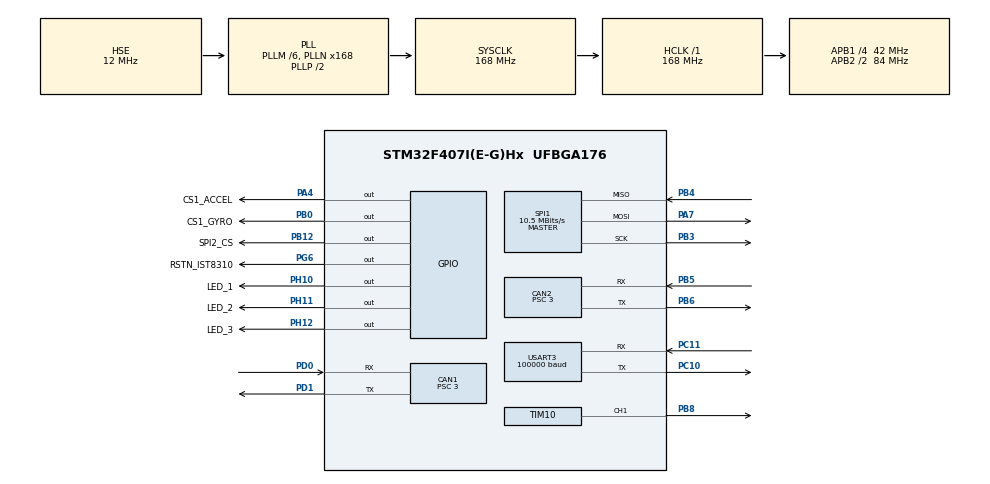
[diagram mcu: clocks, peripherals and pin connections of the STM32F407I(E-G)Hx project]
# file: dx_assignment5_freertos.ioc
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CAN1.ABOM=ENABLE
CAN1.AWUM=ENABLE
CAN1.BS1=CAN_BS1_7TQ
CAN1.BS2=CAN_BS2_6TQ
CAN1.CalculateBaudRate=1000000
CAN1.CalculateTimeBit=1000
CAN1.CalculateTimeQuantum=71.42857142857143
CAN1.Mode=CAN_MODE_NORMAL
CAN1.NART=ENABLE
CAN1.Prescaler=3
CAN1.TXFP=ENABLE
CAN2.BS1=CAN_BS1_7TQ
CAN2.BS2=CAN_BS2_6TQ
CAN2.CalculateBaudRate=1000000
CAN2.CalculateTimeBit=1000
CAN2.CalculateTimeQuantum=71.42857142857143
CAN2.Prescaler=3
Dma.Request0=SPI1_RX
Dma.Request1=SPI1_TX
Dma.Request2=USART3_RX
Dma.SPI1_RX.0.Direction=DMA_PERIPH_TO_MEMORY
Dma.SPI1_RX.0.FIFOMode=DMA_FIFOMODE_DISABLE
Dma.SPI1_RX.0.Instance=DMA2_Stream2
Dma.SPI1_RX.0.MemDataAlignment=DMA_MDATAALIGN_BYTE
Dma.SPI1_RX.0.MemInc=DMA_MINC_ENABLE
Dma.SPI1_RX.0.Mode=DMA_NORMAL
Dma.SPI1_RX.0.PeriphDataAlignment=DMA_PDATAALIGN_BYTE
Dma.SPI1_RX.0.PeriphInc=DMA_PINC_DISABLE
Dma.SPI1_RX.0.Priority=DMA_PRIORITY_HIGH
Dma.SPI1_TX.1.Direction=DMA_MEMORY_TO_PERIPH
Dma.SPI1_TX.1.FIFOMode=DMA_FIFOMODE_DISABLE
Dma.SPI1_TX.1.Instance=DMA2_Stream3
Dma.SPI1_TX.1.MemDataAlignment=DMA_MDATAALIGN_BYTE
Dma.SPI1_TX.1.MemInc=DMA_MINC_ENABLE
Dma.SPI1_TX.1.Mode=DMA_NORMAL
Dma.SPI1_TX.1.PeriphDataAlignment=DMA_PDATAALIGN_BYTE
Dma.SPI1_TX.1.PeriphInc=DMA_PINC_DISABLE
Dma.SPI1_TX.1.Priority=DMA_PRIORITY_HIGH
Dma.USART3_RX.2.Direction=DMA_PERIPH_TO_MEMORY
Dma.USART3_RX.2.FIFOMode=DMA_FIFOMODE_DISABLE
Dma.USART3_RX.2.Instance=DMA1_Stream1
Dma.USART3_RX.2.MemDataAlignment=DMA_MDATAALIGN_BYTE
Dma.USART3_RX.2.MemInc=DMA_MINC_ENABLE
Dma.USART3_RX.2.Mode=DMA_NORMAL
Dma.USART3_RX.2.PeriphDataAlignment=DMA_PDATAALIGN_BYTE
Dma.USART3_RX.2.PeriphInc=DMA_PINC_DISABLE
Dma.USART3_RX.2.Priority=DMA_PRIORITY_HIGH
FREERTOS.CountingSemaphores01=CAN1CountingSem,3,Dynamic,NULL;CAN2CountingSem,3,Dynamic,NULL
FREERTOS.Queues01=can1_send_fifo,16,can_device_transmit_member,0,Dynamic,NULL,NULL;can2_send_fifo,16,can_device_transmit_member,0,Dynamic,NULL,NULL
FREERTOS.Tasks01=CAN1_Sending_Service,40,256,can1_sending_service,As weak,NULL,Dynamic,NULL,NULL;CAN2_Sending_Service,40,256,can2_sending_service,As weak,NULL,Dynamic,NULL,NULL;DJI_Motor_Service,40,256,DJI_motor_service,As weak,NULL,Dynamic,NULL,NULL;LED_Task,8,128,StartTask04,As weak,NULL,Dynamic,NULL,NULL;MotorTask,40,1024,MotorTask05,As weak,NULL,Dynamic,NULL,NULL;RcTask,24,256,RcTask06,As weak,NULL,Dynamic,NULL,NULL;InsTask,8,256,InsTask07,As weak,NULL,Dynamic,NULL,NULL;CanTask,8,128,CanTask08,As weak,NULL,Dynamic,NULL,NULL
FREERTOS.configMAX_TASK_NAME_LEN=32
FREERTOS.configMINIMAL_STACK_SIZE=128
FREERTOS.configTOTAL_HEAP_SIZE=50000
FREERTOS.configUSE_NEWLIB_REENTRANT=1
Mcu.Family=STM32F4
Mcu.Name=STM32F407I(E-G)Hx
Mcu.Package=UFBGA176
NVIC.CAN1_RX0_IRQn=true\:5\:0\:false\:false\:true\:true\:true\:true\:true
NVIC.CAN1_TX_IRQn=true\:5\:0\:false\:false\:true\:true\:true\:true\:true
NVIC.CAN2_RX1_IRQn=true\:5\:0\:false\:false\:true\:true\:true\:true\:true
NVIC.CAN2_TX_IRQn=true\:5\:0\:false\:false\:true\:true\:true\:true\:true
NVIC.DMA1_Stream1_IRQn=true\:5\:0\:false\:false\:true\:true\:false\:true\:true
NVIC.DMA2_Stream2_IRQn=true\:5\:0\:true\:false\:true\:false\:false\:true\:true
NVIC.DMA2_Stream3_IRQn=true\:5\:0\:false\:false\:true\:true\:false\:true\:true
NVIC.PriorityGroup=NVIC_PRIORITYGROUP_4
NVIC.TIM7_IRQn=true\:15\:0\:false\:false\:true\:false\:false\:true\:true
NVIC.TimeBase=TIM7_IRQn
NVIC.TimeBaseIP=TIM7
NVIC.USART3_IRQn=true\:5\:0\:false\:false\:true\:true\:true\:true\:true
PA13.Mode=Serial_Wire
PA13.Signal=SYS_JTMS-SWDIO
PA14.Mode=Serial_Wire
PA14.Signal=SYS_JTCK-SWCLK
PA4.GPIO_Label=CS1_ACCEL
PA4.GPIO_PuPd=GPIO_PULLUP
PA4.GPIO_Speed=GPIO_SPEED_FREQ_HIGH
PA4.PinState=GPIO_PIN_SET
PA4.Signal=GPIO_Output
PA7.Mode=Full_Duplex_Master
PA7.Signal=SPI1_MOSI
PB0.GPIO_Label=CS1_GYRO
PB0.GPIO_PuPd=GPIO_PULLUP
PB0.GPIO_Speed=GPIO_SPEED_FREQ_HIGH
PB0.PinState=GPIO_PIN_SET
PB0.Signal=GPIO_Output
PB12.GPIO_Label=SPI2_CS
PB12.GPIO_PuPd=GPIO_PULLUP
PB12.GPIO_Speed=GPIO_SPEED_FREQ_MEDIUM
PB12.PinState=GPIO_PIN_SET
PB12.Signal=GPIO_Output
PB3.Mode=Full_Duplex_Master
PB3.Signal=SPI1_SCK
PB4.Mode=Full_Duplex_Master
PB4.Signal=SPI1_MISO
PB5.Mode=CAN_Activate
PB5.Signal=CAN2_RX
PB6.Mode=CAN_Activate
PB6.Signal=CAN2_TX
PB8.Signal=S_TIM10_CH1
PC10.Mode=Asynchronous
PC10.Signal=USART3_TX
PC11.Mode=Asynchronous
PC11.Signal=USART3_RX
PD0.Mode=CAN_Activate
PD0.Signal=CAN1_RX
PD1.Mode=CAN_Activate
PD1.Signal=CAN1_TX
PG6.GPIO_Label=RSTN_IST8310
PG6.GPIO_PuPd=GPIO_PULLUP
PG6.GPIO_Speed=GPIO_SPEED_FREQ_MEDIUM
PG6.PinState=GPIO_PIN_SET
PG6.Signal=GPIO_Output
PH0-OSC_IN.Mode=HSE-External-Oscillator
PH0-OSC_IN.Signal=RCC_OSC_IN
PH1-OSC_OUT.Mode=HSE-External-Oscillator
PH1-OSC_OUT.Signal=RCC_OSC_OUT
PH10.GPIO_Label=LED_1
PH10.PinState=GPIO_PIN_SET
PH10.Signal=GPIO_Output
PH11.GPIO_Label=LED_2
PH11.PinState=GPIO_PIN_SET
PH11.Signal=GPIO_Output
PH12.GPIO_Label=LED_3
PH12.PinState=GPIO_PIN_SET
PH12.Signal=GPIO_Output
ProjectManager.HeapSize=0x200
ProjectManager.StackSize=0x400
ProjectManager.TargetToolchain=CMake
RCC.48MHZClocksFreq_Value=84000000
RCC.AHBFreq_Value=168000000
RCC.APB1CLKDivider=RCC_HCLK_DIV4
RCC.APB1Freq_Value=42000000
RCC.APB1TimFreq_Value=84000000
RCC.APB2CLKDivider=RCC_HCLK_DIV2
RCC.APB2Freq_Value=84000000
RCC.APB2TimFreq_Value=168000000
RCC.CortexFreq_Value=168000000
RCC.HCLKFreq_Value=168000000
RCC.HSE_VALUE=12000000
RCC.HSI_VALUE=16000000
RCC.LSE_VALUE=32768
RCC.PLLM=6
RCC.PLLN=168
RCC.PLLSourceVirtual=RCC_PLLSOURCE_HSE
RCC.SYSCLKFreq_VALUE=168000000
RCC.SYSCLKSource=RCC_SYSCLKSOURCE_PLLCLK
RCC.VCOOutputFreq_Value=336000000
SH.S_TIM10_CH1.0=TIM10_CH1,PWM Generation1 CH1
SPI1.BaudRatePrescaler=SPI_BAUDRATEPRESCALER_8
SPI1.CLKPhase=SPI_PHASE_2EDGE
SPI1.CLKPolarity=SPI_POLARITY_HIGH
SPI1.CalculateBaudRate=10.5 MBits/s
SPI1.Direction=SPI_DIRECTION_2LINES
SPI1.Mode=SPI_MODE_MASTER
SPI1.VirtualType=VM_MASTER
TIM10.Channel=TIM_CHANNEL_1
TIM10.Period=2000-1
TIM10.Prescaler=84-1
USART3.BaudRate=100000
USART3.Parity=PARITY_EVEN
USART3.VirtualMode=VM_ASYNC
USART3.WordLength=WORDLENGTH_9B
VP_FREERTOS_VS_CMSIS_V2.Mode=CMSIS_V2
VP_SYS_VS_tim7.Mode=TIM7
VP_TIM10_VS_ClockSourceINT.Mode=Enable_Timer
board=custom

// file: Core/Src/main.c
/* USER CODE BEGIN Header */
/**
  ******************************************************************************
  * @file           : main.c
  * @brief          : Main program body
  ******************************************************************************
  * @attention
  *
  * Copyright (c) 2026 STMicroelectronics.
  * All rights reserved.
  *
  * This software is licensed under terms that can be found in the LICENSE file
  * in the root directory of this software component.
  * If no LICENSE file comes with this software, it is provided AS-IS.
  *
  ******************************************************************************
  */
/* USER CODE END Header */
#include "main.h"
#include "cmsis_os.h"
#include "can.h"
#include "dma.h"
#include "spi.h"
#include "tim.h"
#include "usart.h"
#include "gpio.h"
#include"BMI088driver.h"
#include "bsp_dwt.h"
#include "ins_task.h"

void SystemClock_Config(void);
void MX_FREERTOS_Init(void);

/* USER CODE BEGIN 0 */
void bsp_can_init() {
    HAL_CAN_Start(&hcan1);
    HAL_CAN_ActivateNotification(&hcan1,  CAN_IT_RX_FIFO0_MSG_PENDING | CAN_IT_TX_MAILBOX_EMPTY);
    HAL_CAN_Start(&hcan2);
    HAL_CAN_ActivateNotification(&hcan2,  CAN_IT_RX_FIFO1_MSG_PENDING | CAN_IT_TX_MAILBOX_EMPTY);
}
/* USER CODE END 0 */

int main(void)
{

  /* USER CODE BEGIN 1 */
  __HAL_RCC_SYSCLK_CONFIG(RCC_SYSCLKSOURCE_HSI);
  /* USER CODE END 1 */

  /* MCU Configuration--------------------------------------------------------*/

  /* Reset of all peripherals, Initializes the Flash interface and the Systick. */
  HAL_Init();

  /* Configure the system clock */
  SystemClock_Config();

  /* Initialize all configured peripherals */
  MX_GPIO_Init();
  MX_DMA_Init();
  MX_CAN1_Init();
  MX_CAN2_Init();
  MX_SPI1_Init();
  MX_TIM10_Init();
  MX_USART3_UART_Init();
  /* USER CODE BEGIN 2 */
    bsp_can_init();
  DWT_Init(168);
  BMI088_Init(&hspi1,0);
  INS_Init();
  /* USER CODE END 2 */

  /* Init scheduler */
  osKernelInitialize();  /* Call init function for freertos objects (in cmsis_os2.c) */
  MX_FREERTOS_Init();

  /* Start scheduler */
  osKernelStart();

  /* We should never get here as control is now taken by the scheduler */

  /* Infinite loop */
  while (1)
  {

  }
}

void SystemClock_Config(void)
{
  RCC_OscInitTypeDef RCC_OscInitStruct = {0};
  RCC_ClkInitTypeDef RCC_ClkInitStruct = {0};

  /** Configure the main internal regulator output voltage
  */
  __HAL_RCC_PWR_CLK_ENABLE();
  __HAL_PWR_VOLTAGESCALING_CONFIG(PWR_REGULATOR_VOLTAGE_SCALE1);

  /** Initializes the RCC Oscillators according to the specified parameters
  * in the RCC_OscInitTypeDef structure.
  */
  RCC_OscInitStruct.OscillatorType = RCC_OSCILLATORTYPE_HSE;
  RCC_OscInitStruct.HSEState = RCC_HSE_ON;
  RCC_OscInitStruct.PLL.PLLState = RCC_PLL_ON;
  RCC_OscInitStruct.PLL.PLLSource = RCC_PLLSOURCE_HSE;
  RCC_OscInitStruct.PLL.PLLM = 6;
  RCC_OscInitStruct.PLL.PLLN = 168;
  RCC_OscInitStruct.PLL.PLLP = RCC_PLLP_DIV2;
  RCC_OscInitStruct.PLL.PLLQ = 4;
  if (HAL_RCC_OscConfig(&RCC_OscInitStruct) != HAL_OK)
  {
    Error_Handler();
  }

  /** Initializes the CPU, AHB and APB buses clocks
  */
  RCC_ClkInitStruct.ClockType = RCC_CLOCKTYPE_HCLK|RCC_CLOCKTYPE_SYSCLK
                              |RCC_CLOCKTYPE_PCLK1|RCC_CLOCKTYPE_PCLK2;
  RCC_ClkInitStruct.SYSCLKSource = RCC_SYSCLKSOURCE_PLLCLK;
  RCC_ClkInitStruct.AHBCLKDivider = RCC_SYSCLK_DIV1;
  RCC_ClkInitStruct.APB1CLKDivider = RCC_HCLK_DIV4;
  RCC_ClkInitStruct.APB2CLKDivider = RCC_HCLK_DIV2;

  if (HAL_RCC_ClockConfig(&RCC_ClkInitStruct, FLASH_LATENCY_5) != HAL_OK)
  {
    Error_Handler();
  }
}

void HAL_TIM_PeriodElapsedCallback(TIM_HandleTypeDef *htim)
{
  if (htim->Instance == TIM7)
  {
    HAL_IncTick();
  }
}

void Error_Handler(void)
{
  __disable_irq();
  while (1)
  {
  }
}

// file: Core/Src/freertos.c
/* USER CODE BEGIN Header */
/**
  ******************************************************************************
  * File Name          : freertos.c
  * Description        : Code for freertos applications
  ******************************************************************************
  * @attention
  *
  * Copyright (c) 2026 STMicroelectronics.
  * All rights reserved.
  *
  * This software is licensed under terms that can be found in the LICENSE file
  * in the root directory of this software component.
  * If no LICENSE file comes with this software, it is provided AS-IS.
  *
  ******************************************************************************
  */
/* USER CODE END Header */

#include "FreeRTOS.h"
#include "task.h"
#include "main.h"
#include "cmsis_os.h"

/* USER CODE BEGIN PTD */
typedef struct {
    CAN_HandleTypeDef *hcan;
    uint32_t id;
    uint8_t len;
    uint8_t *buf_data;
}can_device_transmit_member;
/* USER CODE END PTD */

/* Definitions for CAN1_Sending_Service */
osThreadId_t CAN1_Sending_ServiceHandle;
const osThreadAttr_t CAN1_Sending_Service_attributes = {
  .name = "CAN1_Sending_Service",
  .stack_size = 256 * 4,
  .priority = (osPriority_t) osPriorityHigh,
};
/* Definitions for CAN2_Sending_Service */
osThreadId_t CAN2_Sending_ServiceHandle;
const osThreadAttr_t CAN2_Sending_Service_attributes = {
  .name = "CAN2_Sending_Service",
  .stack_size = 256 * 4,
  .priority = (osPriority_t) osPriorityHigh,
};
/* Definitions for DJI_Motor_Service */
osThreadId_t DJI_Motor_ServiceHandle;
const osThreadAttr_t DJI_Motor_Service_attributes = {
  .name = "DJI_Motor_Service",
  .stack_size = 256 * 4,
  .priority = (osPriority_t) osPriorityHigh,
};
/* Definitions for LED_Task */
osThreadId_t LED_TaskHandle;
const osThreadAttr_t LED_Task_attributes = {
  .name = "LED_Task",
  .stack_size = 128 * 4,
  .priority = (osPriority_t) osPriorityLow,
};
/* Definitions for MotorTask */
osThreadId_t MotorTaskHandle;
const osThreadAttr_t MotorTask_attributes = {
  .name = "MotorTask",
  .stack_size = 1024 * 4,
  .priority = (osPriority_t) osPriorityHigh,
};
/* Definitions for RcTask */
osThreadId_t RcTaskHandle;
const osThreadAttr_t RcTask_attributes = {
  .name = "RcTask",
  .stack_size = 256 * 4,
  .priority = (osPriority_t) osPriorityNormal,
};
/* Definitions for InsTask */
osThreadId_t InsTaskHandle;
const osThreadAttr_t InsTask_attributes = {
  .name = "InsTask",
  .stack_size = 256 * 4,
  .priority = (osPriority_t) osPriorityLow,
};
/* Definitions for CanTask */
osThreadId_t CanTaskHandle;
const osThreadAttr_t CanTask_attributes = {
  .name = "CanTask",
  .stack_size = 128 * 4,
  .priority = (osPriority_t) osPriorityLow,
};
/* Definitions for can1_send_fifo */
osMessageQueueId_t can1_send_fifoHandle;
const osMessageQueueAttr_t can1_send_fifo_attributes = {
  .name = "can1_send_fifo"
};
/* Definitions for can2_send_fifo */
osMessageQueueId_t can2_send_fifoHandle;
const osMessageQueueAttr_t can2_send_fifo_attributes = {
  .name = "can2_send_fifo"
};
/* Definitions for CAN1CountingSem */
osSemaphoreId_t CAN1CountingSemHandle;
const osSemaphoreAttr_t CAN1CountingSem_attributes = {
  .name = "CAN1CountingSem"
};
/* Definitions for CAN2CountingSem */
osSemaphoreId_t CAN2CountingSemHandle;
const osSemaphoreAttr_t CAN2CountingSem_attributes = {
  .name = "CAN2CountingSem"
};

void can1_sending_service(void *argument);
void can2_sending_service(void *argument);
void DJI_motor_service(void *argument);
void StartTask04(void *argument);
void MotorTask05(void *argument);
void RcTask06(void *argument);
void InsTask07(void *argument);
void CanTask08(void *argument);

void MX_FREERTOS_Init(void); /* (MISRA C 2004 rule 8.1) */

void MX_FREERTOS_Init(void) {

  /* Create the semaphores(s) */
  /* creation of CAN1CountingSem */
  CAN1CountingSemHandle = osSemaphoreNew(3, 3, &CAN1CountingSem_attributes);

  /* creation of CAN2CountingSem */
  CAN2CountingSemHandle = osSemaphoreNew(3, 3, &CAN2CountingSem_attributes);

  /* Create the queue(s) */
  /* creation of can1_send_fifo */
  can1_send_fifoHandle = osMessageQueueNew (16, sizeof(can_device_transmit_member), &can1_send_fifo_attributes);

  /* creation of can2_send_fifo */
  can2_send_fifoHandle = osMessageQueueNew (16, sizeof(can_device_transmit_member), &can2_send_fifo_attributes);

  /* Create the thread(s) */
  /* creation of CAN1_Sending_Service */
  CAN1_Sending_ServiceHandle = osThreadNew(can1_sending_service, NULL, &CAN1_Sending_Service_attributes);

  /* creation of CAN2_Sending_Service */
  CAN2_Sending_ServiceHandle = osThreadNew(can2_sending_service, NULL, &CAN2_Sending_Service_attributes);

  /* creation of DJI_Motor_Service */
  DJI_Motor_ServiceHandle = osThreadNew(DJI_motor_service, NULL, &DJI_Motor_Service_attributes);

  /* creation of LED_Task */
  LED_TaskHandle = osThreadNew(StartTask04, NULL, &LED_Task_attributes);

  /* creation of MotorTask */
  MotorTaskHandle = osThreadNew(MotorTask05, NULL, &MotorTask_attributes);

  /* creation of RcTask */
  RcTaskHandle = osThreadNew(RcTask06, NULL, &RcTask_attributes);

  /* creation of InsTask */
  InsTaskHandle = osThreadNew(InsTask07, NULL, &InsTask_attributes);

  /* creation of CanTask */
  CanTaskHandle = osThreadNew(CanTask08, NULL, &CanTask_attributes);

}

__weak void can1_sending_service(void *argument)
{
  for(;;)
  {
    osDelay(1);
  }
}

__weak void can2_sending_service(void *argument)
{
  for(;;)
  {
    osDelay(1);
  }
}

__weak void DJI_motor_service(void *argument)
{
  for(;;)
  {
    osDelay(1);
  }
}

__weak void StartTask04(void *argument)
{
  /* USER CODE BEGIN StartTask04 */
  /* Infinite loop */
  for(;;)
  {
    HAL_GPIO_WritePin(GPIOH,GPIO_PIN_10,GPIO_PIN_SET);
    HAL_GPIO_WritePin(GPIOH,GPIO_PIN_11,GPIO_PIN_RESET);
    HAL_GPIO_WritePin(GPIOH,GPIO_PIN_12,GPIO_PIN_RESET);
   osDelay(200);

    HAL_GPIO_WritePin(GPIOH,GPIO_PIN_11,GPIO_PIN_SET);
    HAL_GPIO_WritePin(GPIOH,GPIO_PIN_10,GPIO_PIN_RESET);
    HAL_GPIO_WritePin(GPIOH,GPIO_PIN_12,GPIO_PIN_RESET);
   osDelay(200);

    HAL_GPIO_WritePin(GPIOH,GPIO_PIN_12,GPIO_PIN_SET);
    HAL_GPIO_WritePin(GPIOH,GPIO_PIN_10,GPIO_PIN_RESET);
    HAL_GPIO_WritePin(GPIOH,GPIO_PIN_11,GPIO_PIN_RESET);
   osDelay(200);
  }
  /* USER CODE END StartTask04 */
}

__weak void MotorTask05(void *argument)
{
  for(;;)
  {
    osDelay(1);
  }
}

__weak void RcTask06(void *argument)
{
  for(;;)
  {
    osDelay(1);
  }
}

__weak void InsTask07(void *argument)
{
  for(;;)
  {
    osDelay(1);
  }
}

__weak void CanTask08(void *argument)
{
  for(;;)
  {
    osDelay(1);
  }
}
